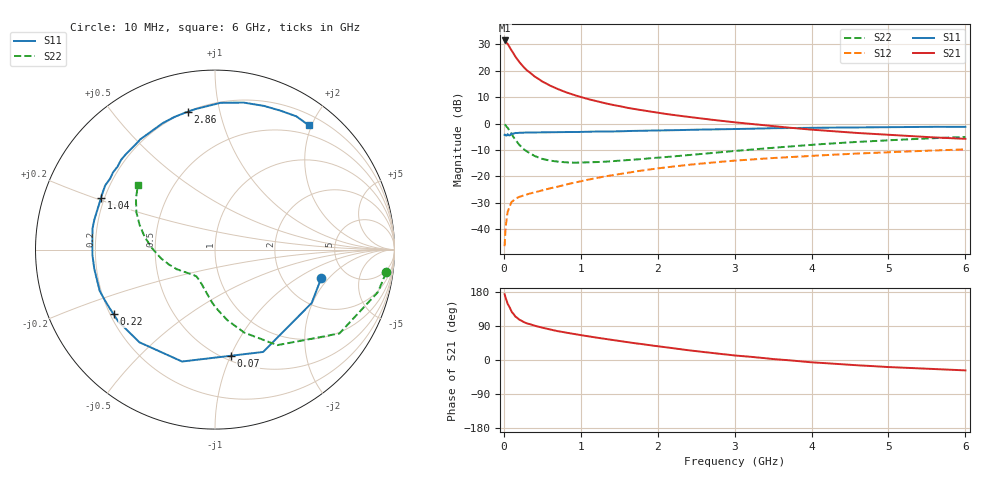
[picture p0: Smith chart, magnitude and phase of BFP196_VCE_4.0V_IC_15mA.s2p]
! Infineon Technologies  Discrete & RF Semiconductors
! BFP196
! VCE = 4.0 V,  IC =  15mA
! Common Emitter S-Parameters:  Jan 2016
# GHz  S  MA  R  50
!  f  S11  S21  S12  S22
! GHz  MAG  ANG  MAG  ANG  MAG  ANG  MAG  ANG
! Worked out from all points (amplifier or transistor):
!   210 points, 10 MHz to 6 GHz, reference 50 ohm
!   highest |S21| = 31.5 dB at 10 MHz (marker M1)
!   |S21| within 3 dB of that: start of sweep to 83.87 MHz
!   unconditionally stable (mu >= 1): 771.5 MHz to 3.453 GHz
!   at 185 MHz: K = 0.39, MSG = 25.9 dB, |S12| = -27.9 dB
!   at 1.52 GHz: K = 1.12, MAG = 10.6 dB, |S12| = -19.0 dB
!   at 6 GHz: K = 0.96, MSG = 2.0 dB, |S12| = -9.8 dB
!   S11 on the Smith chart (normalised r, x): 10 MHz: 3.27, -1.65; 70 MHz: 0.54, -1.00; 220 MHz: 0.21, -0.28; 1.04 GHz: 0.19, +0.21; 2.86 GHz: 0.20, +0.80; 6 GHz: 0.35, +1.96
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0.01  0.613 -14.9  37.38 173.6  0.0048 85.4  0.9618 -7.6
0.02  0.6154 -28.9  36.06 165.8  0.0092 78.5  0.9383 -14.6
0.05  0.6302 -64.8  32.18 148.1  0.0215 63.5  0.8359 -34.0
0.07  0.598 -81.6  28.62 141.1  0.0257 55.6  0.7423 -41.7
0.1  0.65 -106.4  24.36 127.2  0.0327 47.9  0.6354 -56.9
0.15  0.6664 -129.2  18.43 114.6  0.0381 41.5  0.4913 -70.5
0.2  0.6717 -143.5  14.7 106.6  0.0411 38.6  0.399 -80.1
0.22  0.6702 -147.5  13.6 104.6  0.042 38.2  0.3728 -82.8
0.26  0.6748 -154.8  11.63 100.1  0.0439 37.7  0.3275 -88.5
0.3  0.6824 -160.3  10.18 96.6  0.0458 38.0  0.2971 -92.9
0.4  0.6811 -170.8  7.779 90.3  0.0501 39.4  0.2439 -101.5
0.5  0.6838 -177.7  6.251 85.2  0.0542 41.8  0.2149 -108.3
0.7  0.6924 170.3  4.514 76.1  0.064 45.6  0.1906 -117.9
1.02  0.6963 156.5  3.122 65.0  0.0825 48.5  0.1834 -127.7
1.04  0.6973 155.7  3.065 64.4  0.0836 48.5  0.1838 -128.3
1.4  0.7127 142.9  2.277 53.3  0.1051 48.7  0.1938 -136.2
2.02  0.7424 123.5  1.589 35.9  0.1433 45.0  0.2272 -149.7
2.86  0.783 101.2  1.116 15.1  0.1916 36.6  0.2909 -167.9
3.1  0.7936 96.0  1.023 10.4  0.2039 33.6  0.3116 -172.8
4.1  0.8354 77.4  0.749 -7.3  0.2497 22.4  0.4064 168.0
5.1  0.8577 63.5  0.602 -19.4  0.2913 11.3  0.492 153.0
6  0.8676 53.0  0.515 -27.4  0.3252 1.1  0.5592 140.3
